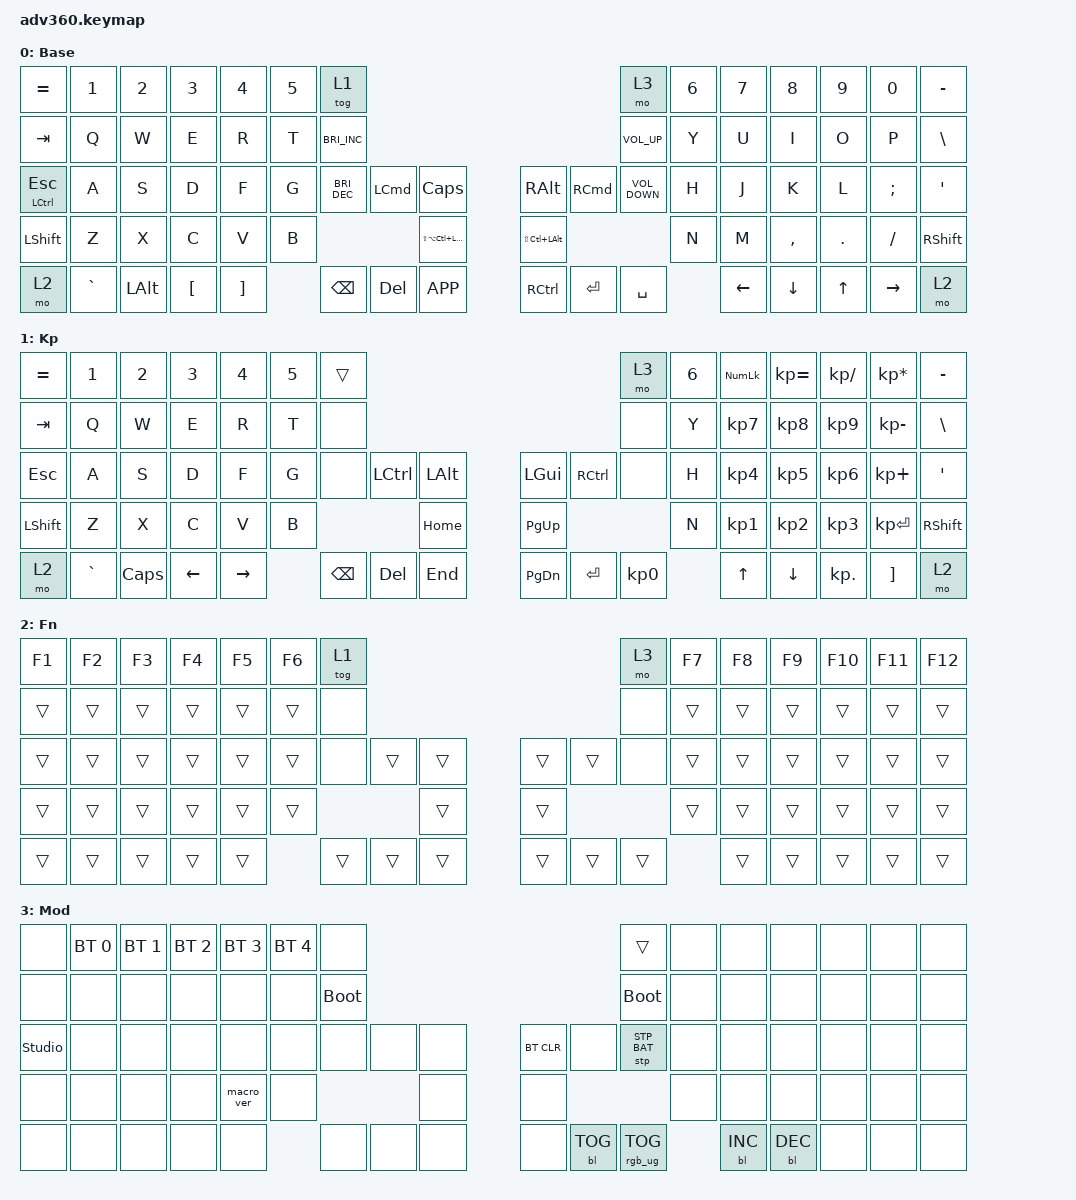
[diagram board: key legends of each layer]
#include <dt-bindings/zmk/stp.h>
#include <behaviors.dtsi>
#include <dt-bindings/zmk/backlight.h>
#include <dt-bindings/zmk/bt.h>
#include <dt-bindings/zmk/keys.h>
#include <dt-bindings/zmk/rgb.h>

/ {
    behaviors {
        #include "macros.dtsi"
      #include "version.dtsi"

        hm: homerow_mods {
            compatible = "zmk,behavior-hold-tap";
            label = "HOMEROW_MODS";
            #binding-cells = <2>;
            tapping-term-ms = <200>;
            quick_tap_ms = <175>;
            flavor = "tap-preferred";
            bindings = <&kp>, <&kp>;
        };

        esc_bk: esc_bk {
            compatible = "zmk,behavior-mod-morph";
            label = "ESC_BK";
            bindings = <&kp BACKSPACE>, <&kp ESCAPE>;

            #binding-cells = <0>;
            mods = <(MOD_LCTL)>;
        };

        esc_equal: esc_equal {
            compatible = "zmk,behavior-mod-morph";
            label = "ESC_EQUAL";
            bindings = <&kp EQUAL>, <&kp ESCAPE>;

            #binding-cells = <0>;
            mods = <(MOD_LGUI)>;
        };
    };

    keymap {
        compatible = "zmk,keymap";

        default_layer {
            display-name = "Base";
            bindings = <
&kp EQUAL                &kp N1     &kp N2        &kp N3            &kp N4             &kp N5  &tog 1                                                                                                         &mo 3              &kp N6  &kp N7    &kp N8     &kp N9   &kp N0     &kp MINUS
&kp TAB                  &kp Q      &kp W         &kp E             &kp R              &kp T   &kp C_BRIGHTNESS_INC                                                                                           &kp C_VOLUME_UP    &kp Y   &kp U     &kp I      &kp O    &kp P      &kp BSLH
&mt LEFT_CONTROL ESCAPE  &kp A      &kp S         &kp D             &kp F              &kp G   &kp C_BRIGHTNESS_DEC  &kp LEFT_COMMAND  &kp CAPSLOCK                  &kp RIGHT_ALT         &kp RIGHT_COMMAND  &kp C_VOLUME_DOWN  &kp H   &kp J     &kp K      &kp L    &kp SEMI   &kp SQT
&kp LSHFT                &kp Z      &kp X         &kp C             &kp V              &kp B                                           &kp LS(LA(LC(LEFT_GUI)))      &kp LS(LC(LEFT_ALT))                                        &kp N   &kp M     &kp COMMA  &kp DOT  &kp FSLH   &kp RSHFT
&mo 2                    &kp GRAVE  &kp LEFT_ALT  &kp LEFT_BRACKET  &kp RIGHT_BRACKET          &kp BACKSPACE         &kp DEL           &kp K_APP                     &kp RIGHT_CONTROL     &kp ENTER          &kp SPACE                  &kp LEFT  &kp DOWN   &kp UP   &kp RIGHT  &mo 2
            >;
        };

        keypad {
            display-name = "Kp";
            bindings = <
&kp EQUAL  &kp N1     &kp N2    &kp N3    &kp N4     &kp N5  &trans                                                   &mo 3      &kp N6  &kp KP_NUM  &kp KP_EQUAL  &kp KP_DIVIDE  &kp KP_MULTIPLY  &kp MINUS
&kp TAB    &kp Q      &kp W     &kp E     &kp R      &kp T   &none                                                    &none      &kp Y   &kp KP_N7   &kp KP_N8     &kp KP_N9      &kp KP_MINUS     &kp BSLH
&kp ESC    &kp A      &kp S     &kp D     &kp F      &kp G   &none     &kp LCTRL  &kp LALT      &kp LGUI   &kp RCTRL  &none      &kp H   &kp KP_N4   &kp KP_N5     &kp KP_N6      &kp KP_PLUS      &kp SQT
&kp LSHFT  &kp Z      &kp X     &kp C     &kp V      &kp B                        &kp HOME      &kp PG_UP                        &kp N   &kp KP_N1   &kp KP_N2     &kp KP_N3      &kp KP_ENTER     &kp RSHFT
&mo 2      &kp GRAVE  &kp CAPS  &kp LEFT  &kp RIGHT          &kp BSPC  &kp DEL    &kp END       &kp PG_DN  &kp ENTER  &kp KP_N0          &kp UP      &kp DOWN      &kp KP_DOT     &kp RBKT         &mo 2
            >;
        };

        fn {
            display-name = "Fn";
            bindings = <
&kp F1  &kp F2  &kp F3  &kp F4  &kp F5  &kp F6  &tog 1                                      &mo 3   &kp F7  &kp F8  &kp F9  &kp F10  &kp F11  &kp F12
&trans  &trans  &trans  &trans  &trans  &trans  &none                                       &none   &trans  &trans  &trans  &trans   &trans   &trans
&trans  &trans  &trans  &trans  &trans  &trans  &none   &trans  &trans      &trans  &trans  &none   &trans  &trans  &trans  &trans   &trans   &trans
&trans  &trans  &trans  &trans  &trans  &trans                  &trans      &trans                  &trans  &trans  &trans  &trans   &trans   &trans
&trans  &trans  &trans  &trans  &trans          &trans  &trans  &trans      &trans  &trans  &trans          &trans  &trans  &trans   &trans   &trans
            >;
        };

        mod {
            display-name = "Mod";
            bindings = <
&none           &bt BT_SEL 0  &bt BT_SEL 1  &bt BT_SEL 2  &bt BT_SEL 3  &bt BT_SEL 4  &none                                                  &trans           &none  &none       &none       &none  &none  &none
&none           &none         &none         &none         &none         &none         &bootloader                                            &bootloader      &none  &none       &none       &none  &none  &none
&studio_unlock  &none         &none         &none         &none         &none         &none        &none  &none      &bt BT_CLR  &none       &stp STP_BAT     &none  &none       &none       &none  &none  &none
&none           &none         &none         &none         &macro_ver    &none                             &none      &none                                    &none  &none       &none       &none  &none  &none
&none           &none         &none         &none         &none                       &none        &none  &none      &none       &bl BL_TOG  &rgb_ug RGB_TOG         &bl BL_INC  &bl BL_DEC  &none  &none  &none
            >;
        };

        extra1 {
            display-name = "Red";
            status = "reserved";
        };

        extra2 {
            display-name = "Purple";
            status = "reserved";
        };

        extra3 {
            display-name = "Cyan";
            status = "reserved";
        };

        extra4 {
            display-name = "Yellow";
            status = "reserved";
        };
    };
};
